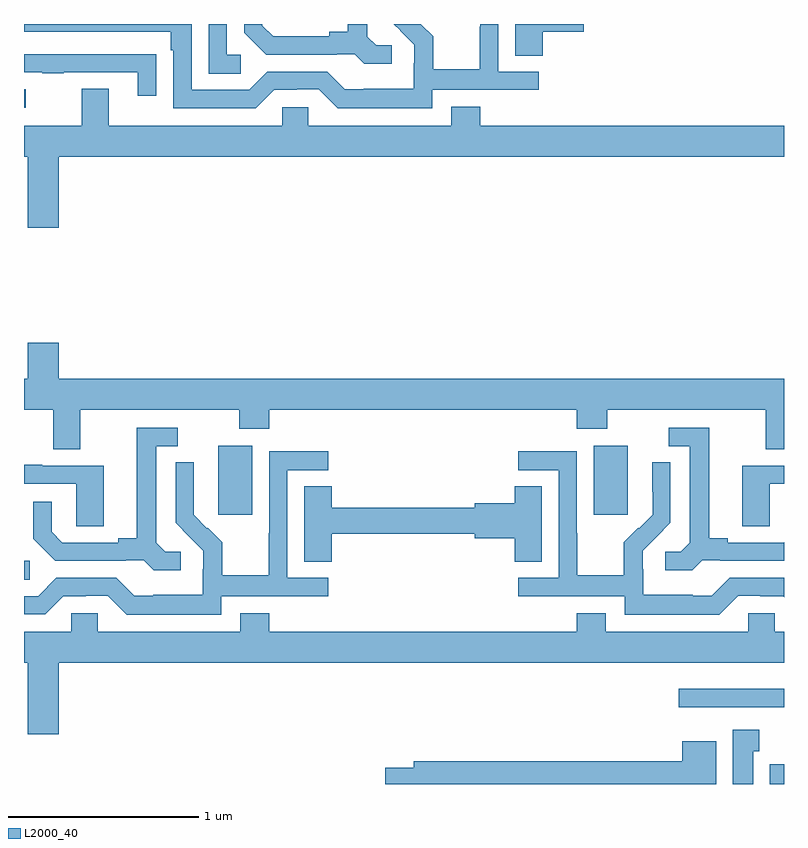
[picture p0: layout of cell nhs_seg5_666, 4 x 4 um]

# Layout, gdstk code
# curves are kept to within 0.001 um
import gdstk
lib = gdstk.Library(unit=1e-6, precision=1e-09)
def R(c, l, rs):  # rectangles x0, y0, x1, y1
    for r in rs: c.add(gdstk.rectangle(r[:2], r[2:], *l))
def P(c, l, *ps):  # polygons
    for p in ps: c.add(gdstk.Polygon(p, *l))
L2000_40 = (2000, 40)

nhs_seg5_666 = lib.new_cell('nhs_seg5_666')
R(nhs_seg5_666, L2000_40, [(156.926,846.799,157,846.904), (156.447,847.203,157,847.3), (153,847.873,153.031,847.974), (154.022,848.217,154.201,848.578), (155.999,848.217,156.178,848.578), (153,850.359,153.01,850.455)])
P(nhs_seg5_666, L2000_40, [(155.729,850.757),(155.947,850.757),(155.947,850.799),(155.585,850.799),(155.585,850.633),(155.729,850.633)],
  [(154.936,850.686),(154.854,850.686),(154.807,850.733),(154.807,850.799),(154.703,850.799),(154.703,850.757),(154.607,850.757),(154.607,850.734),(154.312,850.734),(154.255,850.791),(154.255,850.799),(154.158,850.799),(154.158,850.754),(154.274,850.638),(154.646,850.638),(154.646,850.641),(154.74,850.641),(154.792,850.589),(154.936,850.589)],
  [(154.141,850.638),(154.068,850.638),(154.068,850.799),(153.972,850.799),(153.972,850.537),(154.141,850.537)],
  [(155.148,850.452),(155.71,850.452),(155.71,850.548),(155.496,850.548),(155.496,850.799),(155.4,850.799),(155.4,850.784),(155.398,850.784),(155.398,850.561),(155.153,850.561),(155.153,850.735),(155.089,850.799),(154.947,850.799),(155.054,850.69),(155.054,850.593),(155.052,850.593),(155.052,850.459),(154.789,850.459),(154.789,850.455),(154.689,850.455),(154.596,850.548),(154.281,850.548),(154.185,850.452),(153.882,850.452),(153.882,850.799),(153,850.799),(153,850.758),(153.773,850.758),(153.773,850.661),(153.786,850.661),(153.786,850.356),(154.221,850.356),(154.317,850.452),(154.436,850.452),(154.436,850.455),(154.551,850.455),(154.651,850.355),(155.148,850.355)],
  [(153.695,850.64),(153.593,850.64),(153.593,850.641),(153,850.641),(153,850.545),(153.097,850.545),(153.097,850.54),(153.209,850.54),(153.209,850.545),(153.599,850.545),(153.599,850.422),(153.695,850.422)],
  [(153.184,850.1),(157,850.1),(157,850.264),(155.402,850.264),(155.402,850.363),(155.249,850.363),(155.249,850.264),(154.497,850.264),(154.497,850.362),(154.359,850.362),(154.359,850.264),(153.445,850.264),(153.445,850.459),(153.305,850.459),(153.305,850.264),(153,850.264),(153,850.1),(153.02,850.1),(153.02,849.726),(153.184,849.726)],
  [(153.184,849.121),(153.02,849.121),(153.02,848.932),(153,848.932),(153,848.768),(153.155,848.768),(153.155,848.56),(153.295,848.56),(153.295,848.768),(154.132,848.768),(154.132,848.669),(154.292,848.669),(154.292,848.768),(155.909,848.768),(155.909,848.669),(156.069,848.669),(156.069,848.768),(156.905,848.768),(156.905,848.56),(157,848.56),(157,848.932),(153.184,848.932)],
  [(153.826,848.022),(153.744,848.022),(153.697,848.069),(153.697,848.577),(153.808,848.577),(153.808,848.673),(153.593,848.673),(153.593,848.093),(153.497,848.093),(153.497,848.07),(153.202,848.07),(153.145,848.127),(153.145,848.284),(153.048,848.284),(153.048,848.09),(153.164,847.974),(153.536,847.974),(153.536,847.977),(153.63,847.977),(153.682,847.925),(153.826,847.925)],
  [(156.57,847.977),(156.664,847.977),(156.664,847.974),(157,847.974),(157,848.072),(156.998,848.07),(156.703,848.07),(156.703,848.093),(156.607,848.093),(156.607,848.673),(156.393,848.673),(156.393,848.577),(156.503,848.577),(156.503,848.069),(156.456,848.022),(156.375,848.022),(156.375,847.925),(156.518,847.925)],
  [(154.038,847.788),(154.6,847.788),(154.6,847.884),(154.386,847.884),(154.386,848.451),(154.6,848.451),(154.6,848.55),(154.29,848.55),(154.29,848.12),(154.288,848.12),(154.288,847.897),(154.043,847.897),(154.043,848.071),(153.966,848.148),(153.963,848.145),(153.893,848.216),(153.894,848.492),(153.798,848.492),(153.798,848.174),(153.944,848.026),(153.944,847.929),(153.942,847.929),(153.942,847.795),(153.679,847.795),(153.679,847.791),(153.579,847.791),(153.486,847.884),(153.171,847.884),(153.075,847.788),(153,847.788),(153,847.692),(153.111,847.692),(153.207,847.788),(153.326,847.788),(153.326,847.791),(153.441,847.791),(153.541,847.691),(154.038,847.691)],
  [(156.759,847.791),(156.875,847.791),(156.875,847.788),(156.993,847.788),(157,847.781),(157,847.884),(156.714,847.884),(156.621,847.791),(156.521,847.791),(156.521,847.795),(156.258,847.795),(156.258,847.929),(156.256,847.929),(156.256,848.026),(156.402,848.174),(156.402,848.492),(156.306,848.492),(156.306,848.338),(156.308,848.338),(156.308,848.216),(156.237,848.145),(156.234,848.148),(156.157,848.071),(156.157,847.897),(155.913,847.897),(155.913,848.12),(155.91,848.12),(155.91,848.55),(155.601,848.55),(155.601,848.451),(155.814,848.451),(155.814,847.884),(155.601,847.884),(155.601,847.788),(156.162,847.788),(156.162,847.691),(156.659,847.691)],
  [(153.421,848.475),(153.097,848.475),(153.097,848.479),(153,848.479),(153,848.379),(153.276,848.379),(153.276,848.155),(153.421,848.155)],
  [(156.924,848.379),(157,848.379),(157,848.475),(156.779,848.475),(156.779,848.155),(156.924,848.155)],
  [(154.619,848.116),(155.372,848.116),(155.372,848.093),(155.582,848.093),(155.582,847.969),(155.725,847.969),(155.725,848.366),(155.582,848.366),(155.582,848.276),(155.372,848.276),(155.372,848.252),(154.619,848.252),(154.619,848.366),(154.475,848.366),(154.475,847.969),(154.619,847.969)],
  [(153.184,847.436),(157,847.436),(157,847.6),(156.951,847.6),(156.951,847.698),(156.813,847.698),(156.813,847.6),(156.061,847.6),(156.061,847.699),(155.909,847.699),(155.909,847.6),(154.292,847.6),(154.292,847.699),(154.139,847.699),(154.139,847.6),(153.387,847.6),(153.387,847.698),(153.249,847.698),(153.249,847.6),(153,847.6),(153,847.436),(153.02,847.436),(153.02,847.062),(153.184,847.062)],
  [(156.838,846.971),(156.871,846.971),(156.871,847.084),(156.731,847.084),(156.731,846.799),(156.838,846.799)],
  [(156.643,847.024),(156.464,847.024),(156.464,846.92),(155.051,846.92),(155.051,846.884),(154.902,846.884),(154.902,846.799),(156.643,846.799)])

lib.write_gds('nhs_seg5_666.gds')
